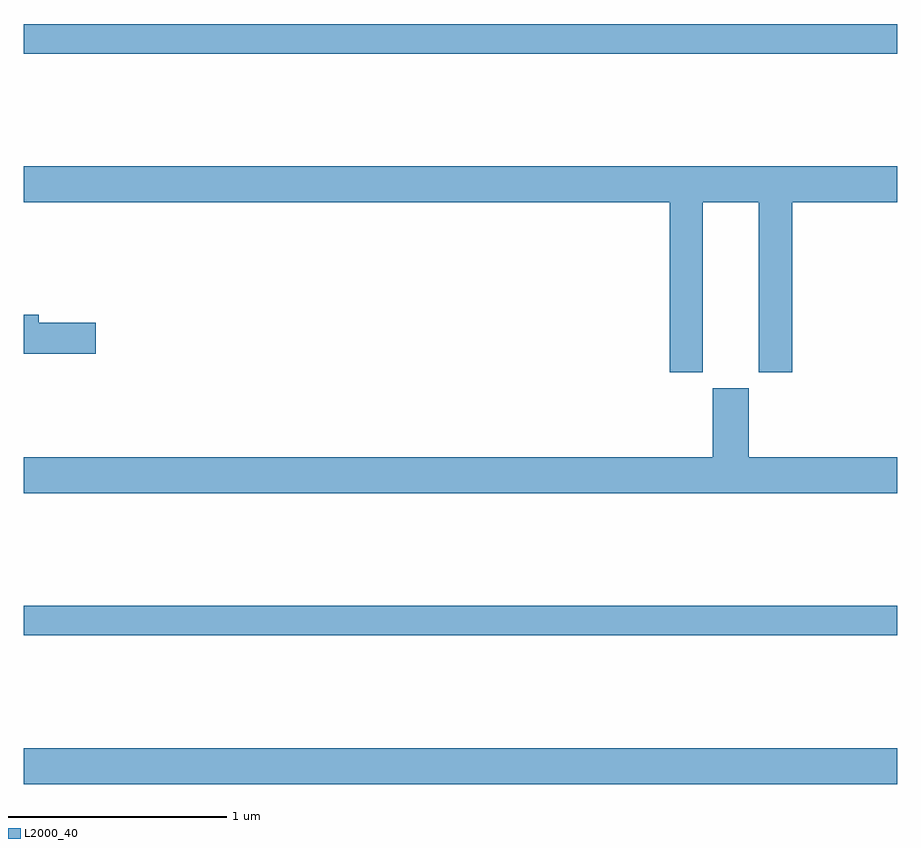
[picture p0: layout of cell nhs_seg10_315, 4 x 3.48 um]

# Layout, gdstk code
import gdstk
lib = gdstk.Library(unit=1e-6, precision=1e-09)
def R(c, l, rs):  # rectangles x0, y0, x1, y1
    for r in rs: c.add(gdstk.rectangle(r[:2], r[2:], *l))
def P(c, l, *ps):  # polygons
    for p in ps: c.add(gdstk.Polygon(p, *l))
L2000_40 = (2000, 40)

nhs_seg10_315 = lib.new_cell('nhs_seg10_315')
R(nhs_seg10_315, L2000_40, [(125,1318.964,129,1319.128), (125,1319.644,129,1319.78), (125,1322.308,129,1322.444)])
P(nhs_seg10_315, L2000_40, [(128.11,1321.628),(128.366,1321.628),(128.366,1320.849),(128.519,1320.849),(128.519,1321.628),(129,1321.628),(129,1321.792),(125,1321.792),(125,1321.628),(127.958,1321.628),(127.958,1320.849),(128.11,1320.849)],
  [(125.329,1321.076),(125.068,1321.076),(125.068,1321.112),(125,1321.112),(125,1320.934),(125.329,1320.934)],
  [(129,1320.46),(128.32,1320.46),(128.32,1320.777),(128.156,1320.777),(128.156,1320.46),(125,1320.46),(125,1320.296),(129,1320.296)])

lib.write_gds('nhs_seg10_315.gds')
